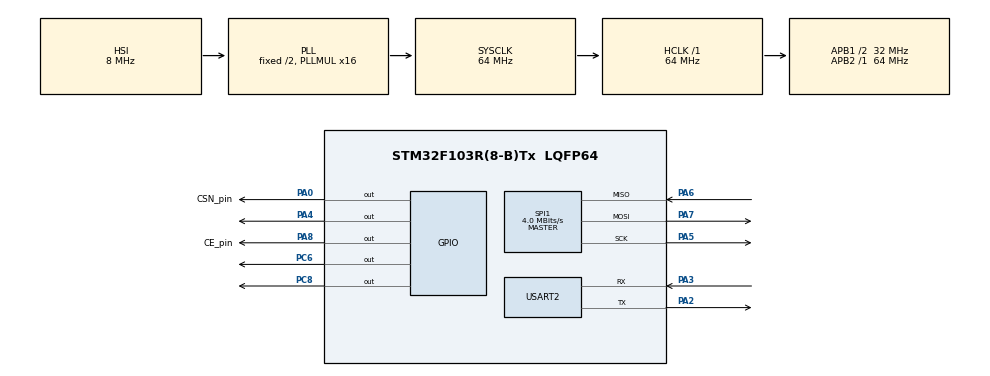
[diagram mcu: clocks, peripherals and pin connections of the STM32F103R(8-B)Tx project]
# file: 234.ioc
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Mcu.Family=STM32F1
Mcu.Name=STM32F103R(8-B)Tx
Mcu.Package=LQFP64
NVIC.PriorityGroup=NVIC_PRIORITYGROUP_4
PA0-WKUP.GPIO_Label=CSN_pin
PA0-WKUP.GPIO_Speed=GPIO_SPEED_FREQ_MEDIUM
PA0-WKUP.PinState=GPIO_PIN_RESET
PA0-WKUP.Signal=GPIO_Output
PA2.Mode=Asynchronous
PA2.Signal=USART2_TX
PA3.Mode=Asynchronous
PA3.Signal=USART2_RX
PA4.Signal=GPIO_Output
PA5.Mode=Full_Duplex_Master
PA5.Signal=SPI1_SCK
PA6.Mode=Full_Duplex_Master
PA6.Signal=SPI1_MISO
PA7.Mode=Full_Duplex_Master
PA7.Signal=SPI1_MOSI
PA8.GPIO_Label=CE_pin
PA8.GPIO_Speed=GPIO_SPEED_FREQ_MEDIUM
PA8.Signal=GPIO_Output
PC6.Signal=GPIO_Output
PC8.Signal=GPIO_Output
PD0-OSC_IN.Mode=HSE-External-Oscillator
PD0-OSC_IN.Signal=RCC_OSC_IN
PD1-OSC_OUT.Mode=HSE-External-Oscillator
PD1-OSC_OUT.Signal=RCC_OSC_OUT
ProjectManager.HeapSize=0x200
ProjectManager.StackSize=0x400
ProjectManager.TargetToolchain=STM32CubeIDE
RCC.AHBFreq_Value=64000000
RCC.APB1CLKDivider=RCC_HCLK_DIV2
RCC.APB1Freq_Value=32000000
RCC.APB1TimFreq_Value=64000000
RCC.APB2Freq_Value=64000000
RCC.APB2TimFreq_Value=64000000
RCC.HCLKFreq_Value=64000000
RCC.PLLMUL=RCC_PLL_MUL16
RCC.RTCClockSelection=RCC_RTCCLKSOURCE_LSE
RCC.SYSCLKFreq_VALUE=64000000
RCC.SYSCLKSource=RCC_SYSCLKSOURCE_PLLCLK
RCC.USBFreq_Value=64000000
SPI1.BaudRatePrescaler=SPI_BAUDRATEPRESCALER_16
SPI1.CalculateBaudRate=4.0 MBits/s
SPI1.Direction=SPI_DIRECTION_2LINES
SPI1.Mode=SPI_MODE_MASTER
SPI1.VirtualType=VM_MASTER
USART2.VirtualMode=VM_ASYNC
VP_SYS_VS_ND.Mode=No_Debug
board=NUCLEO-F103RB

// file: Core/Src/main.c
/* USER CODE BEGIN Header */
/**
  ******************************************************************************
  * @file           : main.c
  * @brief          : Main program body
  ******************************************************************************
  * @attention
  *
  * Copyright (c) 2025 STMicroelectronics.
  * All rights reserved.
  *
  * This software is licensed under terms that can be found in the LICENSE file
  * in the root directory of this software component.
  * If no LICENSE file comes with this software, it is provided AS-IS.
  *
  ******************************************************************************
  */
/* USER CODE END Header */
#include "main.h"
#include "spi.h"
#include "usart.h"
#include "gpio.h"

/* USER CODE BEGIN Includes */
#include "NRF24.h"
#include "NRF24_conf.h"
#include "stdio.h"
#include "NRF24_reg_addresses.h"

/* USER CODE END Includes */

void SystemClock_Config(void);

/* USER CODE BEGIN 0 */
uint8_t tx_data[] = {'h', 'i','i'};      // '\0' 빼고 2바이트

void nrf24_transmitter_setup(void)
{

    uint8_t tx_address[5] = {0xE7, 0xE7, 0xE7, 0xE7, 0xE7}; // 송신기 주소
    nrf24_open_tx_pipe(tx_address);

    nrf24_defaults();  // NRF24 모듈을 기본 설정으로 초기화
    nrf24_pwr_up();
    HAL_Delay(5);        // datasheet 권장: >4.5ms
    nrf24_stop_listen();

    nrf24_set_channel(40);
    nrf24_set_payload_size(2);
     nrf24_auto_ack_all(disable);
          // 내부적으로 CONFIG.PRIM_RX=0, CE=0 처리

     nrf24_open_tx_pipe((uint8_t*)tx_address);

    nrf24_tx_pwr(3); // 전송 파워 설정 (필요에 따라 조정)
    nrf24_data_rate(_1mbps); // 데이터 전송 속도 설정 (1mbps 일반적으로 사용)

}

void debug_dump_settings(void) {
    uint8_t ch     = nrf24_r_reg(RF_CH,      1);
    uint8_t pw     = nrf24_r_reg(RX_PW_P0,   1);
    uint8_t addr[5] = {0};

    // RX_ADDR_P0 레지스터(0x0A)부터 5바이트 읽기
    csn_low();
      uint8_t cmd = R_REGISTER | RX_ADDR_P0;
      HAL_SPI_Transmit(&hspiX, &cmd, 1, spi_rw_timeout);
      HAL_SPI_Receive (&hspiX, addr, 5, spi_r_timeout);
    csn_high();

    printf("=== DEBUG SETTINGS ===\r\n");
    printf(" RF_CH       = %u\r\n", ch);
    printf(" RX_PW_P0    = %u bytes\r\n", pw);
    printf(" RX_ADDR_P0  = %02X %02X %02X %02X %02X\r\n",
           addr[0], addr[1], addr[2], addr[3], addr[4]);
    printf("======================\r\n");
}

void transmit_hi(void)
{
	 uint8_t wr = 40;                    // 쓰고 싶은 채널 값
		          nrf24_w_reg(RF_CH, &wr, 1);         // RF_CH 레지스터에 40(0x28) 쓰기
		          uint8_t rd = nrf24_r_reg(RF_CH, 1); // 바로 다시 읽기
		          printf("TEST RF_CH = %u\r\n", rd);  // rd가 40인지 확인
    // 데이터 전송
    if (nrf24_transmit(tx_data, sizeof(tx_data)) == 0) {
        // 전송 성공 시, LED를 켜서 피드백
        HAL_GPIO_WritePin(GPIOC, GPIO_PIN_8, GPIO_PIN_SET);  // PC6 핀에 연결된 LED 켜기
        nrf24_flush_tx();  // 송신 버퍼 플러시

        printf("Sent Data: %s\n", tx_data);  // 송신된 데이터를 터미널에 출력
    } else {
        // 전송 실패 시, LED 끄기
    	HAL_GPIO_WritePin(GPIOC, GPIO_PIN_6, GPIO_PIN_SET);  // PC6 핀에 전압을 출력 (LED 켜짐)
    	 nrf24_flush_tx();  // 송신 버퍼 플러시
    	 printf("Failed to send data: %s\n", tx_data);  // 전송 실패 메시지

    }

}

int __io_putchar(int ch)
{
    HAL_UART_Transmit(&huart2, (uint8_t*)&ch, 1, HAL_MAX_DELAY);  // UART2로 데이터 전송
    return ch;
}

/* USER CODE END 0 */

int main(void)
{

  /* MCU Configuration--------------------------------------------------------*/

  /* Reset of all peripherals, Initializes the Flash interface and the Systick. */
  HAL_Init();

  /* Configure the system clock */
  SystemClock_Config();

  /* Initialize all configured peripherals */
  MX_GPIO_Init();
  MX_SPI1_Init();
  MX_USART2_UART_Init();
  /* USER CODE BEGIN 2 */
  nrf24_transmitter_setup();
  debug_dump_settings();
  /* USER CODE END 2 */

  /* Infinite loop */
  while (1)
  {

    /* USER CODE BEGIN 3 */

	   transmit_hi();  // "hi" 전송
	 // debug_setup();

	         HAL_Delay(1000); // 2초 대기
  }
  /* USER CODE END 3 */
}

void SystemClock_Config(void)
{
  RCC_OscInitTypeDef RCC_OscInitStruct = {0};
  RCC_ClkInitTypeDef RCC_ClkInitStruct = {0};

  /** Initializes the RCC Oscillators according to the specified parameters
  * in the RCC_OscInitTypeDef structure.
  */
  RCC_OscInitStruct.OscillatorType = RCC_OSCILLATORTYPE_HSI;
  RCC_OscInitStruct.HSIState = RCC_HSI_ON;
  RCC_OscInitStruct.HSICalibrationValue = RCC_HSICALIBRATION_DEFAULT;
  RCC_OscInitStruct.PLL.PLLState = RCC_PLL_ON;
  RCC_OscInitStruct.PLL.PLLSource = RCC_PLLSOURCE_HSI_DIV2;
  RCC_OscInitStruct.PLL.PLLMUL = RCC_PLL_MUL16;
  if (HAL_RCC_OscConfig(&RCC_OscInitStruct) != HAL_OK)
  {
    Error_Handler();
  }

  /** Initializes the CPU, AHB and APB buses clocks
  */
  RCC_ClkInitStruct.ClockType = RCC_CLOCKTYPE_HCLK|RCC_CLOCKTYPE_SYSCLK
                              |RCC_CLOCKTYPE_PCLK1|RCC_CLOCKTYPE_PCLK2;
  RCC_ClkInitStruct.SYSCLKSource = RCC_SYSCLKSOURCE_PLLCLK;
  RCC_ClkInitStruct.AHBCLKDivider = RCC_SYSCLK_DIV1;
  RCC_ClkInitStruct.APB1CLKDivider = RCC_HCLK_DIV2;
  RCC_ClkInitStruct.APB2CLKDivider = RCC_HCLK_DIV1;

  if (HAL_RCC_ClockConfig(&RCC_ClkInitStruct, FLASH_LATENCY_2) != HAL_OK)
  {
    Error_Handler();
  }
}

void Error_Handler(void)
{
  __disable_irq();
  while (1)
  {
  }
}
